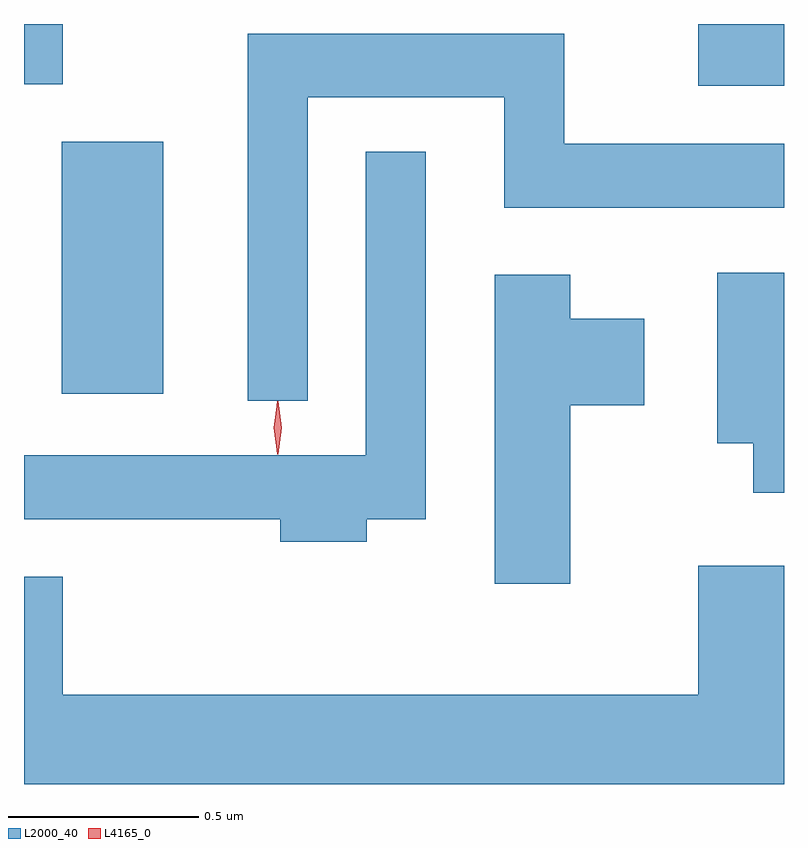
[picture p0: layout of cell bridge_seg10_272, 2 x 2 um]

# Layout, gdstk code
import gdstk
lib = gdstk.Library(unit=1e-6, precision=1e-09)
def R(c, l, rs):  # rectangles x0, y0, x1, y1
    for r in rs: c.add(gdstk.rectangle(r[:2], r[2:], *l))
def P(c, l, *ps):  # polygons
    for p in ps: c.add(gdstk.Polygon(p, *l))
L2000_40 = (2000, 40)
L4165_0 = (4165, 0)

bridge_seg10_272 = lib.new_cell('bridge_seg10_272')
R(bridge_seg10_272, L2000_40, [(1785.546,2099.436,1785.814,2100.099), (1787.221,2100.246,1787.447,2100.409), (1785.447,2100.251,1785.549,2100.409)])
P(bridge_seg10_272, L2000_40, [(1786.194,2100.216),(1786.711,2100.216),(1786.711,2099.926),(1787.447,2099.926),(1787.447,2100.094),(1786.869,2100.094),(1786.869,2100.384),(1786.036,2100.384),(1786.036,2099.418),(1786.194,2099.418)],
  [(1786.349,2099.106),(1786.504,2099.106),(1786.504,2100.073),(1786.346,2100.073),(1786.346,2099.274),(1785.447,2099.274),(1785.447,2099.106),(1786.121,2099.106),(1786.121,2099.046),(1786.349,2099.046)],
  [(1787.447,2099.754),(1787.271,2099.754),(1787.271,2099.306),(1787.366,2099.306),(1787.366,2099.176),(1787.447,2099.176)],
  [(1786.884,2099.406),(1787.079,2099.406),(1787.079,2099.634),(1786.884,2099.634),(1786.884,2099.749),(1786.686,2099.749),(1786.686,2098.936),(1786.884,2098.936)],
  [(1787.447,2098.984),(1787.221,2098.984),(1787.221,2098.644),(1785.549,2098.644),(1785.549,2098.954),(1785.447,2098.954),(1785.447,2098.409),(1787.447,2098.409)])
P(bridge_seg10_272, L4165_0, [(1786.114,2099.277),(1786.105,2099.346),(1786.114,2099.416),(1786.115,2099.416),(1786.116,2099.416),(1786.125,2099.346),(1786.116,2099.277),(1786.115,2099.277)],
  [(1786.114,2099.279),(1786.114,2099.28),(1786.104,2099.346),(1786.114,2099.412),(1786.114,2099.413),(1786.115,2099.412),(1786.124,2099.346),(1786.115,2099.28)])

lib.write_gds('bridge_seg10_272.gds')
